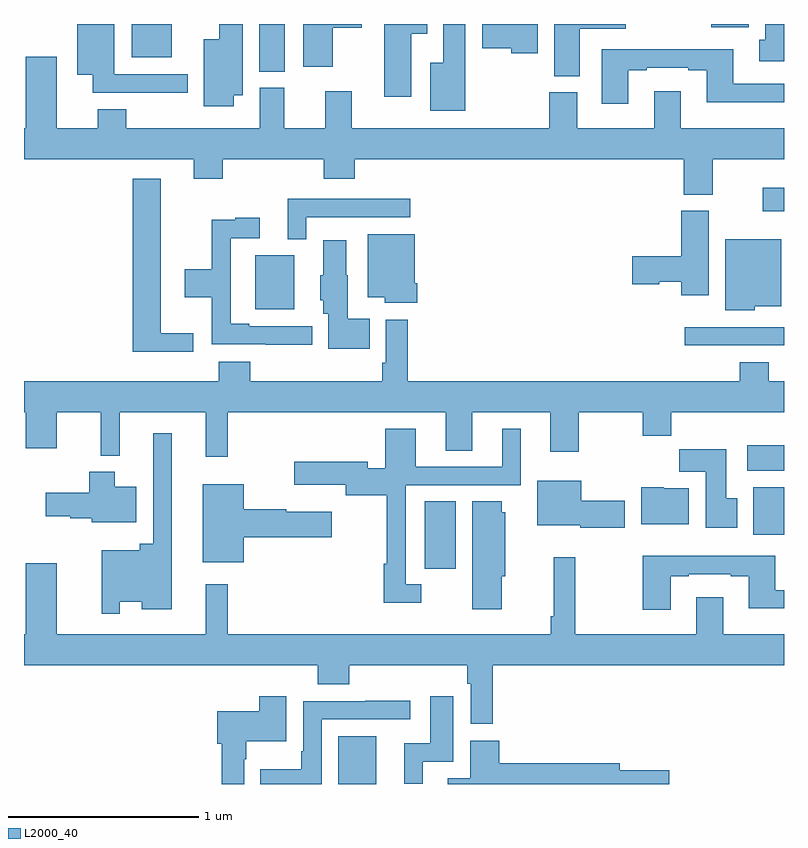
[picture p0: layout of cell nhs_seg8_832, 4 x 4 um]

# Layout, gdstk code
import gdstk
lib = gdstk.Library(unit=1e-6, precision=1e-09)
def R(c, l, rs):  # rectangles x0, y0, x1, y1
    for r in rs: c.add(gdstk.rectangle(r[:2], r[2:], *l))
def P(c, l, *ps):  # polygons
    for p in ps: c.add(gdstk.Polygon(p, *l))
L2000_40 = (2000, 40)

nhs_seg8_832 = lib.new_cell('nhs_seg8_832')
R(nhs_seg8_832, L2000_40, [(166.655,1091.9,166.855,1092.151), (167.108,1093.032,167.272,1093.388), (168.839,1093.212,169,1093.462), (168.807,1093.55,169,1093.684), (168.477,1094.208,169,1094.304), (166.217,1094.399,166.423,1094.683), (168.888,1094.915,169,1095.037), (166.238,1095.649,166.372,1095.9), (165.566,1095.725,165.778,1095.9), (168.617,1095.884,168.814,1095.9)])
P(nhs_seg8_832, L2000_40, [(166.105,1095.524),(166.15,1095.524),(166.15,1095.9),(166.028,1095.9),(166.028,1095.82),(165.947,1095.82),(165.947,1095.468),(166.105,1095.468)],
  [(165.862,1095.636),(165.475,1095.636),(165.475,1095.9),(165.281,1095.9),(165.281,1095.632),(165.362,1095.632),(165.362,1095.539),(165.862,1095.539)],
  [(169,1095.9),(168.902,1095.9),(168.902,1095.818),(168.869,1095.818),(168.869,1095.705),(169,1095.705)],
  [(167.038,1095.848),(167.122,1095.848),(167.122,1095.9),(166.895,1095.9),(166.895,1095.516),(167.038,1095.516)],
  [(166.624,1095.879),(166.777,1095.879),(166.777,1095.9),(166.469,1095.9),(166.469,1095.675),(166.624,1095.675)],
  [(167.926,1095.875),(168.166,1095.875),(168.166,1095.9),(167.792,1095.9),(167.792,1095.625),(167.926,1095.625)],
  [(167.323,1095.9),(167.207,1095.9),(167.207,1095.697),(167.138,1095.697),(167.138,1095.443),(167.323,1095.443)],
  [(167.704,1095.9),(167.411,1095.9),(167.411,1095.773),(167.565,1095.773),(167.565,1095.746),(167.704,1095.746)],
  [(168.181,1095.657),(168.277,1095.657),(168.277,1095.669),(168.497,1095.669),(168.497,1095.657),(168.593,1095.657),(168.593,1095.488),(169,1095.488),(169,1095.585),(168.733,1095.585),(168.733,1095.766),(168.041,1095.766),(168.041,1095.48),(168.181,1095.48)],
  [(168.625,1095.188),(169,1095.188),(169,1095.352),(168.457,1095.352),(168.457,1095.547),(168.317,1095.547),(168.317,1095.352),(167.911,1095.352),(167.911,1095.54),(167.764,1095.54),(167.764,1095.352),(166.726,1095.352),(166.726,1095.547),(166.586,1095.547),(166.586,1095.352),(166.369,1095.352),(166.369,1095.564),(166.241,1095.564),(166.241,1095.352),(165.537,1095.352),(165.537,1095.451),(165.389,1095.451),(165.389,1095.352),(165.172,1095.352),(165.172,1095.727),(165.008,1095.727),(165.008,1095.352),(165,1095.352),(165,1095.188),(165.893,1095.188),(165.893,1095.086),(166.046,1095.086),(166.046,1095.188),(166.577,1095.188),(166.577,1095.086),(166.742,1095.086),(166.742,1095.188),(168.473,1095.188),(168.473,1095.001),(168.625,1095.001)],
  [(165.892,1094.273),(165.721,1094.273),(165.721,1095.085),(165.572,1095.085),(165.572,1094.174),(165.892,1094.174)],
  [(166.485,1094.883),(167.032,1094.883),(167.032,1094.979),(166.388,1094.979),(166.388,1094.768),(166.485,1094.768)],
  [(168.604,1094.916),(168.458,1094.916),(168.458,1094.678),(168.201,1094.678),(168.201,1094.531),(168.344,1094.531),(168.344,1094.543),(168.458,1094.543),(168.458,1094.472),(168.604,1094.472)],
  [(166.516,1094.31),(166.186,1094.31),(166.186,1094.323),(166.089,1094.323),(166.089,1094.772),(166.24,1094.772),(166.24,1094.881),(166.112,1094.881),(166.112,1094.87),(165.988,1094.87),(165.988,1094.61),(165.846,1094.61),(165.846,1094.462),(165.988,1094.462),(165.988,1094.214),(166.273,1094.214),(166.273,1094.213),(166.516,1094.213)],
  [(167.069,1094.536),(167.056,1094.536),(167.056,1094.794),(166.808,1094.794),(166.808,1094.462),(166.898,1094.462),(166.898,1094.432),(167.069,1094.432)],
  [(168.846,1094.414),(168.985,1094.414),(168.985,1094.767),(168.692,1094.767),(168.692,1094.393),(168.846,1094.393)],
  [(166.82,1094.35),(166.705,1094.35),(166.705,1094.577),(166.696,1094.577),(166.696,1094.761),(166.574,1094.761),(166.574,1094.577),(166.559,1094.577),(166.559,1094.445),(166.574,1094.445),(166.574,1094.376),(166.601,1094.376),(166.601,1094.192),(166.82,1094.192)],
  [(165,1093.856),(165.008,1093.856),(165.008,1093.668),(165.172,1093.668),(165.172,1093.856),(165.403,1093.856),(165.403,1093.628),(165.503,1093.628),(165.503,1093.856),(165.956,1093.856),(165.956,1093.623),(166.073,1093.623),(166.073,1093.856),(167.219,1093.856),(167.219,1093.654),(167.359,1093.654),(167.359,1093.856),(167.771,1093.856),(167.771,1093.65),(167.919,1093.65),(167.919,1093.856),(168.256,1093.856),(168.256,1093.732),(168.407,1093.732),(168.407,1093.856),(169,1093.856),(169,1094.02),(168.919,1094.02),(168.919,1094.119),(168.767,1094.119),(168.767,1094.02),(167.021,1094.02),(167.021,1094.344),(166.905,1094.344),(166.905,1094.116),(166.885,1094.116),(166.885,1094.02),(166.19,1094.02),(166.19,1094.122),(166.025,1094.122),(166.025,1094.02),(165,1094.02)],
  [(167.092,1092.951),(167.01,1092.951),(167.01,1093.473),(167.614,1093.473),(167.614,1093.771),(167.516,1093.771),(167.516,1093.569),(167.062,1093.569),(167.062,1093.771),(166.901,1093.771),(166.901,1093.563),(166.81,1093.563),(166.81,1093.597),(166.422,1093.597),(166.422,1093.475),(166.694,1093.475),(166.694,1093.421),(166.909,1093.421),(166.909,1093.058),(166.894,1093.058),(166.894,1092.854),(167.092,1092.854)],
  [(165.504,1092.86),(165.62,1092.86),(165.62,1092.821),(165.778,1092.821),(165.778,1093.747),(165.681,1093.747),(165.681,1093.165),(165.608,1093.165),(165.608,1093.129),(165.408,1093.129),(165.408,1092.795),(165.504,1092.795)],
  [(168.754,1093.404),(168.697,1093.404),(168.697,1093.663),(168.448,1093.663),(168.448,1093.544),(168.587,1093.544),(168.587,1093.248),(168.754,1093.248)],
  [(165.592,1093.465),(165.478,1093.465),(165.478,1093.543),(165.344,1093.543),(165.344,1093.432),(165.114,1093.432),(165.114,1093.31),(165.243,1093.31),(165.243,1093.298),(165.356,1093.298),(165.356,1093.277),(165.592,1093.277)],
  [(168.163,1093.392),(167.932,1093.392),(167.932,1093.495),(167.702,1093.495),(167.702,1093.262),(167.928,1093.262),(167.928,1093.25),(168.163,1093.25)],
  [(166.156,1093.199),(166.621,1093.199),(166.621,1093.333),(166.38,1093.333),(166.38,1093.346),(166.156,1093.346),(166.156,1093.477),(165.941,1093.477),(165.941,1093.067),(166.156,1093.067)],
  [(168.499,1093.456),(168.366,1093.456),(168.366,1093.462),(168.248,1093.462),(168.248,1093.268),(168.499,1093.268)],
  [(167.515,1092.993),(167.533,1092.993),(167.533,1093.329),(167.515,1093.329),(167.515,1093.388),(167.36,1093.388),(167.36,1092.819),(167.515,1092.819)],
  [(168.403,1092.993),(168.499,1092.993),(168.499,1093.005),(168.719,1093.005),(168.719,1092.993),(168.815,1092.993),(168.815,1092.824),(169,1092.824),(169,1092.921),(168.955,1092.921),(168.955,1093.102),(168.256,1093.102),(168.256,1092.816),(168.403,1092.816)],
  [(167.468,1092.524),(169,1092.524),(169,1092.688),(168.679,1092.688),(168.679,1092.883),(168.539,1092.883),(168.539,1092.688),(167.902,1092.688),(167.902,1093.093),(167.788,1093.093),(167.788,1092.784),(167.773,1092.784),(167.773,1092.688),(166.073,1092.688),(166.073,1092.952),(165.956,1092.952),(165.956,1092.688),(165.172,1092.688),(165.172,1093.063),(165.008,1093.063),(165.008,1092.688),(165,1092.688),(165,1092.524),(166.547,1092.524),(166.547,1092.425),(166.712,1092.425),(166.712,1092.524),(167.332,1092.524),(167.332,1092.428),(167.352,1092.428),(167.352,1092.216),(167.468,1092.216)],
  [(166.158,1092.029),(166.171,1092.029),(166.171,1092.125),(166.381,1092.125),(166.381,1092.361),(166.238,1092.361),(166.238,1092.283),(166.016,1092.283),(166.016,1092.113),(166.042,1092.113),(166.042,1091.9),(166.158,1091.9)],
  [(167.098,1092.018),(167.26,1092.018),(167.26,1092.361),(167.138,1092.361),(167.138,1092.114),(167,1092.114),(167,1091.901),(167.098,1091.901)],
  [(166.566,1092.24),(167.032,1092.24),(167.032,1092.338),(166.795,1092.338),(166.795,1092.336),(166.47,1092.336),(166.47,1092.073),(166.458,1092.073),(166.458,1091.977),(166.243,1091.977),(166.243,1091.9),(166.566,1091.9)],
  [(168.397,1091.972),(168.136,1091.972),(168.136,1092.008),(167.501,1092.008),(167.501,1092.127),(167.348,1092.127),(167.348,1091.929),(167.231,1091.929),(167.231,1091.9),(168.397,1091.9)])

lib.write_gds('nhs_seg8_832.gds')
